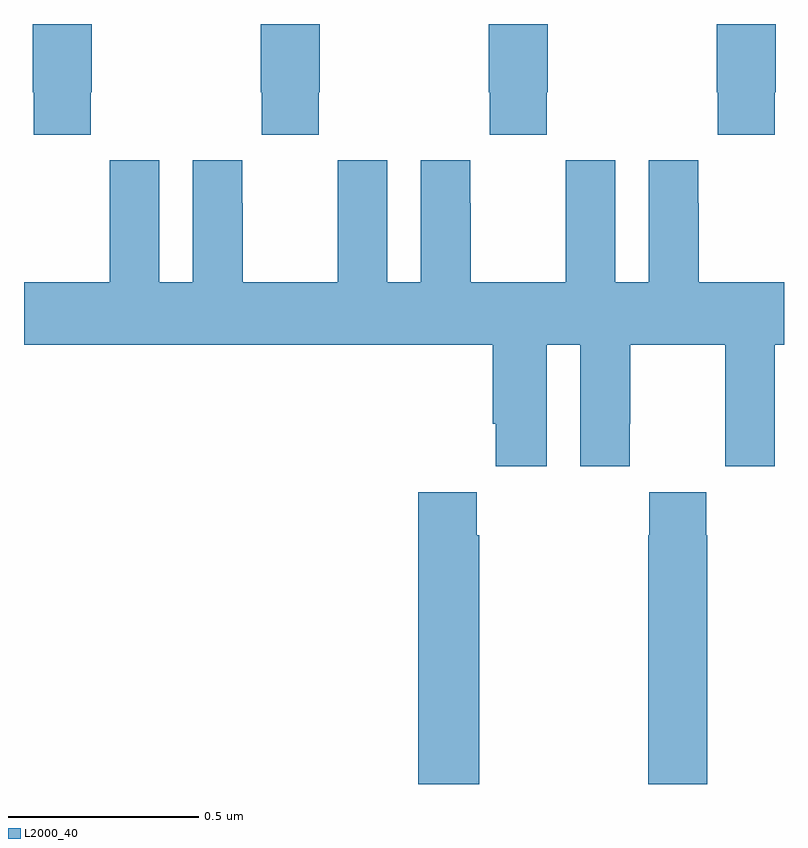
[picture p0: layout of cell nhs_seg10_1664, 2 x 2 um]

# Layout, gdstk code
import gdstk
lib = gdstk.Library(unit=1e-6, precision=1e-09)
def P(c, l, *ps):  # polygons
    for p in ps: c.add(gdstk.Polygon(p, *l))
L2000_40 = (2000, 40)

nhs_seg10_1664 = lib.new_cell('nhs_seg10_1664')
P(nhs_seg10_1664, L2000_40, [(131.175,1294.321),(131.178,1294.321),(131.178,1294.5),(131.023,1294.5),(131.023,1294.321),(131.025,1294.321),(131.025,1294.209),(131.175,1294.209)],
  [(131.775,1294.321),(131.778,1294.321),(131.778,1294.5),(131.623,1294.5),(131.623,1294.321),(131.625,1294.321),(131.625,1294.209),(131.775,1294.209)],
  [(132.375,1294.321),(132.378,1294.321),(132.378,1294.5),(132.223,1294.5),(132.223,1294.321),(132.225,1294.321),(132.225,1294.209),(132.375,1294.209)],
  [(132.975,1294.321),(132.978,1294.321),(132.978,1294.5),(132.823,1294.5),(132.823,1294.321),(132.825,1294.321),(132.825,1294.209),(132.975,1294.209)],
  [(132.376,1293.656),(132.464,1293.656),(132.464,1293.336),(132.594,1293.336),(132.594,1293.448),(132.595,1293.448),(132.595,1293.656),(132.845,1293.656),(132.845,1293.448),(132.846,1293.448),(132.846,1293.336),(132.976,1293.336),(132.976,1293.656),(133,1293.656),(133,1293.82),(132.775,1293.82),(132.775,1294.028),(132.774,1294.028),(132.774,1294.141),(132.644,1294.141),(132.644,1293.82),(132.556,1293.82),(132.556,1294.141),(132.426,1294.141),(132.426,1294.028),(132.425,1294.028),(132.425,1293.82),(132.175,1293.82),(132.175,1294.028),(132.174,1294.028),(132.174,1294.141),(132.044,1294.141),(132.044,1293.82),(131.956,1293.82),(131.956,1294.141),(131.826,1294.141),(131.826,1294.028),(131.825,1294.028),(131.825,1293.82),(131.575,1293.82),(131.575,1294.028),(131.574,1294.028),(131.574,1294.141),(131.444,1294.141),(131.444,1293.82),(131.356,1293.82),(131.356,1294.141),(131.226,1294.141),(131.226,1294.028),(131.225,1294.028),(131.225,1293.82),(131,1293.82),(131,1293.656),(132.233,1293.656),(132.233,1293.448),(132.242,1293.448),(132.242,1293.336),(132.376,1293.336)],
  [(132.798,1293.155),(132.795,1293.155),(132.795,1293.268),(132.645,1293.268),(132.645,1293.155),(132.643,1293.155),(132.643,1292.5),(132.798,1292.5)],
  [(132.198,1293.155),(132.191,1293.155),(132.191,1293.268),(132.038,1293.268),(132.038,1292.5),(132.198,1292.5)])

lib.write_gds('nhs_seg10_1664.gds')
